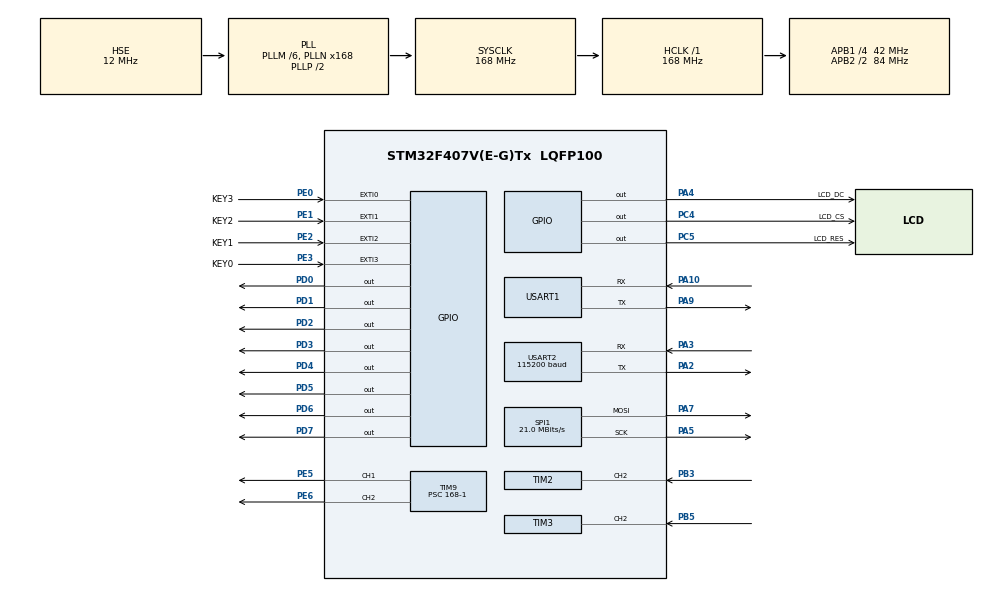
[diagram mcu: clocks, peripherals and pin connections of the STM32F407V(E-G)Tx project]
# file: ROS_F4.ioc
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Dma.Request0=USART1_RX
Dma.Request1=USART2_RX
Dma.USART1_RX.0.Direction=DMA_PERIPH_TO_MEMORY
Dma.USART1_RX.0.FIFOMode=DMA_FIFOMODE_DISABLE
Dma.USART1_RX.0.Instance=DMA2_Stream2
Dma.USART1_RX.0.MemDataAlignment=DMA_MDATAALIGN_BYTE
Dma.USART1_RX.0.MemInc=DMA_MINC_ENABLE
Dma.USART1_RX.0.Mode=DMA_NORMAL
Dma.USART1_RX.0.PeriphDataAlignment=DMA_PDATAALIGN_BYTE
Dma.USART1_RX.0.PeriphInc=DMA_PINC_DISABLE
Dma.USART1_RX.0.Priority=DMA_PRIORITY_LOW
Dma.USART2_RX.1.Direction=DMA_PERIPH_TO_MEMORY
Dma.USART2_RX.1.FIFOMode=DMA_FIFOMODE_DISABLE
Dma.USART2_RX.1.Instance=DMA1_Stream5
Dma.USART2_RX.1.MemDataAlignment=DMA_MDATAALIGN_BYTE
Dma.USART2_RX.1.MemInc=DMA_MINC_ENABLE
Dma.USART2_RX.1.Mode=DMA_NORMAL
Dma.USART2_RX.1.PeriphDataAlignment=DMA_PDATAALIGN_BYTE
Dma.USART2_RX.1.PeriphInc=DMA_PINC_DISABLE
Dma.USART2_RX.1.Priority=DMA_PRIORITY_LOW
Mcu.Family=STM32F4
Mcu.Name=STM32F407V(E-G)Tx
Mcu.Package=LQFP100
NVIC.DMA1_Stream5_IRQn=true\:0\:0\:false\:false\:true\:false\:true\:true
NVIC.DMA2_Stream2_IRQn=true\:0\:0\:false\:false\:true\:false\:true\:true
NVIC.EXTI0_IRQn=true\:1\:0\:true\:false\:true\:true\:true\:true
NVIC.EXTI1_IRQn=true\:1\:0\:true\:false\:true\:true\:true\:true
NVIC.EXTI2_IRQn=true\:1\:0\:true\:false\:true\:true\:true\:true
NVIC.EXTI3_IRQn=true\:1\:0\:true\:false\:true\:true\:true\:true
NVIC.PriorityGroup=NVIC_PRIORITYGROUP_4
NVIC.TIM2_IRQn=true\:0\:0\:false\:false\:true\:true\:true\:true
NVIC.TIM3_IRQn=true\:0\:0\:false\:false\:true\:true\:true\:true
NVIC.TIM5_IRQn=true\:0\:0\:false\:false\:true\:true\:true\:true
NVIC.TIM6_DAC_IRQn=true\:0\:0\:false\:false\:true\:true\:true\:true
NVIC.USART1_IRQn=true\:2\:0\:true\:false\:true\:true\:true\:true
NVIC.USART2_IRQn=true\:2\:0\:true\:false\:true\:true\:true\:true
PA10.Mode=Asynchronous
PA10.Signal=USART1_RX
PA13.Mode=Serial_Wire
PA13.Signal=SYS_JTMS-SWDIO
PA14.Mode=Serial_Wire
PA14.Signal=SYS_JTCK-SWCLK
PA2.Mode=Asynchronous
PA2.Signal=USART2_TX
PA3.Mode=Asynchronous
PA3.Signal=USART2_RX
PA4.GPIO_Label=LCD_DC
PA4.GPIO_PuPd=GPIO_PULLDOWN
PA4.Signal=GPIO_Output
PA5.GPIO_Mode=GPIO_MODE_AF_PP
PA5.Mode=TX_Only_Simplex_Unidirect_Master
PA5.Signal=SPI1_SCK
PA7.GPIO_Mode=GPIO_MODE_AF_PP
PA7.Mode=TX_Only_Simplex_Unidirect_Master
PA7.Signal=SPI1_MOSI
PA9.Mode=Asynchronous
PA9.Signal=USART1_TX
PB3.GPIO_ModeDefaultPP=GPIO_MODE_AF_PP
PB3.Signal=S_TIM2_CH2
PB5.Signal=S_TIM3_CH2
PC4.GPIO_Label=LCD_CS
PC4.GPIO_PuPd=GPIO_PULLDOWN
PC4.Signal=GPIO_Output
PC5.GPIO_Label=LCD_RES
PC5.GPIO_PuPd=GPIO_PULLDOWN
PC5.Signal=GPIO_Output
PD0.Signal=GPIO_Output
PD1.Signal=GPIO_Output
PD2.Signal=GPIO_Output
PD3.Signal=GPIO_Output
PD4.Signal=GPIO_Output
PD5.Signal=GPIO_Output
PD6.Signal=GPIO_Output
PD7.Signal=GPIO_Output
PE0.GPIO_Label=KEY3
PE0.GPIO_ModeDefaultEXTI=GPIO_MODE_IT_FALLING
PE0.Signal=GPXTI0
PE1.GPIO_Label=KEY2
PE1.GPIO_ModeDefaultEXTI=GPIO_MODE_IT_FALLING
PE1.Signal=GPXTI1
PE2.GPIO_Label=KEY1
PE2.GPIO_ModeDefaultEXTI=GPIO_MODE_IT_FALLING
PE2.Signal=GPXTI2
PE3.GPIO_Label=KEY0
PE3.GPIO_ModeDefaultEXTI=GPIO_MODE_IT_FALLING
PE3.Signal=GPXTI3
PE5.Signal=S_TIM9_CH1
PE6.Signal=S_TIM9_CH2
PH0-OSC_IN.Mode=HSE-External-Oscillator
PH0-OSC_IN.Signal=RCC_OSC_IN
PH1-OSC_OUT.Mode=HSE-External-Oscillator
PH1-OSC_OUT.Signal=RCC_OSC_OUT
ProjectManager.HeapSize=0x200
ProjectManager.StackSize=0x400
ProjectManager.TargetToolchain=STM32CubeIDE
RCC.48MHZClocksFreq_Value=84000000
RCC.AHBFreq_Value=168000000
RCC.APB1CLKDivider=RCC_HCLK_DIV4
RCC.APB1Freq_Value=42000000
RCC.APB1TimFreq_Value=84000000
RCC.APB2CLKDivider=RCC_HCLK_DIV2
RCC.APB2Freq_Value=84000000
RCC.APB2TimFreq_Value=168000000
RCC.CortexFreq_Value=168000000
RCC.HCLKFreq_Value=168000000
RCC.HSE_VALUE=12000000
RCC.HSI_VALUE=16000000
RCC.LSE_VALUE=32768
RCC.PLLM=6
RCC.PLLN=168
RCC.PLLSourceVirtual=RCC_PLLSOURCE_HSE
RCC.SYSCLKFreq_VALUE=168000000
RCC.SYSCLKSource=RCC_SYSCLKSOURCE_PLLCLK
RCC.VCOOutputFreq_Value=336000000
SH.S_TIM2_CH2.0=TIM2_CH2,TriggerSource_TI2FP2
SH.S_TIM3_CH2.0=TIM3_CH2,TriggerSource_TI2FP2
SH.S_TIM9_CH1.0=TIM9_CH1,PWM Generation1 CH1
SH.S_TIM9_CH2.0=TIM9_CH2,PWM Generation2 CH2
SPI1.BaudRatePrescaler=SPI_BAUDRATEPRESCALER_4
SPI1.CalculateBaudRate=21.0 MBits/s
SPI1.Direction=SPI_DIRECTION_2LINES
SPI1.Mode=SPI_MODE_MASTER
SPI1.VirtualType=VM_MASTER
TIM5.Period=100-1
TIM5.Prescaler=16800-1
TIM6.Period=2000-1
TIM6.Prescaler=16800-1
TIM9.Channel-PWM\ Generation1\ CH1=TIM_CHANNEL_1
TIM9.Channel-PWM\ Generation2\ CH2=TIM_CHANNEL_2
TIM9.Period=1000-1
TIM9.Prescaler=168-1
USART1.VirtualMode=VM_ASYNC
USART2.BaudRate=115200
USART2.VirtualMode=VM_ASYNC
VP_TIM2_VS_ControllerModeClock.Mode=Clock Mode
VP_TIM3_VS_ControllerModeClock.Mode=Clock Mode
VP_TIM5_VS_ClockSourceINT.Mode=Internal
VP_TIM6_VS_ClockSourceINT.Mode=Enable_Timer
board=custom

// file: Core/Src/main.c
/* USER CODE BEGIN Header */
/**
  ******************************************************************************
  * @file           : main.c
  * @brief          : Main program body
  ******************************************************************************
  * @attention
  *
  * Copyright (c) 2025 STMicroelectronics.
  * All rights reserved.
  *
  * This software is licensed under terms that can be found in the LICENSE file
  * in the root directory of this software component.
  * If no LICENSE file comes with this software, it is provided AS-IS.
  *
  ******************************************************************************
  */
/* USER CODE END Header */
#include "main.h"
#include "dma.h"
#include "spi.h"
#include "tim.h"
#include "usart.h"
#include "gpio.h"

/* USER CODE BEGIN Includes */
#include "st7735.h"
#include "jy901.h"
#include "motor.h"
#include <string.h>
#include "delay.h"
#include "slip.h"
/* USER CODE END Includes */

/* USER CODE BEGIN PTD */
uint8_t IMU_data[44]={0};
uint8_t uart_data[40]={0};
uint8_t to_lcd_Buffer[40];

int left_pwm = 0;
int right_pwm = 0;

uint8_t IMU_FPS=0;
uint8_t cnt=0;
uint8_t cntt=0;
uint8_t IMU_FPS_sum=0;

uint32_t left_count = 0;
uint32_t right_count = 0;

float left_speed = 0 , right_speed = 0;

int n0=0,n1=0,n2=0,n3=0;
float v1 = 0;

extern User_USART JY901_data;
int flag = 1;

PID_IncTypeDef MotorPID;  // 声明PID控制器结构体变量
extern float x_speed;
/* USER CODE END PTD */

void SystemClock_Config(void);

/* USER CODE BEGIN 0 */
int fputc(int ch, FILE *f)
{
  HAL_UART_Transmit(&huart1, (uint8_t *)&ch, 1, 10);
  return ch;
}
/* USER CODE END 0 */

int main(void)
{

  /* MCU Configuration--------------------------------------------------------*/

  /* Reset of all peripherals, Initializes the Flash interface and the Systick. */
  HAL_Init();

  /* Configure the system clock */
  SystemClock_Config();

  /* Initialize all configured peripherals */
  MX_GPIO_Init();
  MX_DMA_Init();
  MX_USART1_UART_Init();
  MX_USART2_UART_Init();
  MX_SPI1_Init();
  MX_TIM2_Init();
  MX_TIM5_Init();
  MX_TIM3_Init();
  MX_TIM9_Init();
  MX_TIM6_Init();
  /* USER CODE BEGIN 2 */
	User_USART_Init(&JY901_data);

	HAL_UARTEx_ReceiveToIdle_DMA(&huart1,uart_data,40);
	HAL_UARTEx_ReceiveToIdle_DMA(&huart2,IMU_data,44);

	ST7735_Init();

	ST7735_DrawString(0,0,"F4 & ROS",ST7735_WHITE,ST7735_BLACK,&Font_11x18);
	ST7735_DrawString(0,58,"N0:",ST7735_WHITE,ST7735_BLACK,&Font_7x10);
	ST7735_DrawString(80,58,"N1:",ST7735_WHITE,ST7735_BLACK,&Font_7x10);
	ST7735_DrawString(0,68,"N2:",ST7735_WHITE,ST7735_BLACK,&Font_7x10);
	ST7735_DrawString(80,68,"N3:",ST7735_WHITE,ST7735_BLACK,&Font_7x10);

	ST7735_DrawString(0,18,"X :",ST7735_WHITE,ST7735_BLACK,&Font_7x10);
	ST7735_DrawString(0,28,"Y :",ST7735_WHITE,ST7735_BLACK,&Font_7x10);
	ST7735_DrawString(0,38,"Z :",ST7735_WHITE,ST7735_BLACK,&Font_7x10);
	ST7735_DrawString(0,48,"IMU_FPS :",ST7735_WHITE,ST7735_BLACK,&Font_7x10);

	PID_IncInit(&MotorPID, 0.2f, 0.07f, 0, 2000.0f, -2000.0f);//kp ki kd max min

  /* USER CODE END 2 */

  /* Infinite loop */
  while (1)
  {

    /* USER CODE BEGIN 3 */
	  set_pwm(1,left_pwm);
	  set_pwm(2,right_pwm);

//	  set_pwm(1,200);
//	  set_pwm(2,200);
//	  send_raspi();
  }
  /* USER CODE END 3 */
}

void SystemClock_Config(void)
{
  RCC_OscInitTypeDef RCC_OscInitStruct = {0};
  RCC_ClkInitTypeDef RCC_ClkInitStruct = {0};

  /** Configure the main internal regulator output voltage
  */
  __HAL_RCC_PWR_CLK_ENABLE();
  __HAL_PWR_VOLTAGESCALING_CONFIG(PWR_REGULATOR_VOLTAGE_SCALE1);

  /** Initializes the RCC Oscillators according to the specified parameters
  * in the RCC_OscInitTypeDef structure.
  */
  RCC_OscInitStruct.OscillatorType = RCC_OSCILLATORTYPE_HSE;
  RCC_OscInitStruct.HSEState = RCC_HSE_ON;
  RCC_OscInitStruct.PLL.PLLState = RCC_PLL_ON;
  RCC_OscInitStruct.PLL.PLLSource = RCC_PLLSOURCE_HSE;
  RCC_OscInitStruct.PLL.PLLM = 6;
  RCC_OscInitStruct.PLL.PLLN = 168;
  RCC_OscInitStruct.PLL.PLLP = RCC_PLLP_DIV2;
  RCC_OscInitStruct.PLL.PLLQ = 4;
  if (HAL_RCC_OscConfig(&RCC_OscInitStruct) != HAL_OK)
  {
    Error_Handler();
  }

  /** Initializes the CPU, AHB and APB buses clocks
  */
  RCC_ClkInitStruct.ClockType = RCC_CLOCKTYPE_HCLK|RCC_CLOCKTYPE_SYSCLK
                              |RCC_CLOCKTYPE_PCLK1|RCC_CLOCKTYPE_PCLK2;
  RCC_ClkInitStruct.SYSCLKSource = RCC_SYSCLKSOURCE_PLLCLK;
  RCC_ClkInitStruct.AHBCLKDivider = RCC_SYSCLK_DIV1;
  RCC_ClkInitStruct.APB1CLKDivider = RCC_HCLK_DIV4;
  RCC_ClkInitStruct.APB2CLKDivider = RCC_HCLK_DIV2;

  if (HAL_RCC_ClockConfig(&RCC_ClkInitStruct, FLASH_LATENCY_5) != HAL_OK)
  {
    Error_Handler();
  }
}

/* USER CODE BEGIN 4 */
void HAL_UARTEx_RxEventCallback(UART_HandleTypeDef *huart, uint16_t Size)
{
    uint8_t RXD_Buffer[33];
    if(huart == &huart1)
    {
        memcpy(RXD_Buffer, uart_data, Size);
        RXD_Buffer[Size] = '\0'; // 补0结束符

        char rxd_buf_char[50] = {0}; // 新建一个char数组，防止类型冲突
        memcpy(rxd_buf_char, RXD_Buffer, Size); // 拷贝到char数组中
        rxd_buf_char[Size] = '\0'; // 再补一个结束符

        if (rxd_buf_char[0] == '[')
        {
            char *comma_ptr = strchr(rxd_buf_char, ',');
            char *right_bracket_ptr = strchr(rxd_buf_char, ']');

            if (comma_ptr != NULL && right_bracket_ptr != NULL && comma_ptr < right_bracket_ptr)
            {
                char left_str[10] = {0};
                char right_str[10] = {0};

                memcpy(left_str, rxd_buf_char + 1, comma_ptr - (rxd_buf_char + 1));
                left_str[comma_ptr - (rxd_buf_char + 1)] = '\0';

                memcpy(right_str, comma_ptr + 1, right_bracket_ptr - (comma_ptr + 1));
                right_str[right_bracket_ptr - (comma_ptr + 1)] = '\0';

                left_pwm = atoi(left_str);
                right_pwm = atoi(right_str);
            }
        }

        HAL_UARTEx_ReceiveToIdle_DMA(&huart1, uart_data, 40); // 继续接收
    }
    if(huart == &huart2)
    {
        IMU_FPS_sum++;
//        HAL_UART_Transmit(&huart1, "IMU_data get!!!!!!!\r\n", 22,0xff);
        memcpy(JY901_data.RxBuffer,IMU_data, JY901_data.Rx_len);
        JY901_data.Rx_len = sizeof(IMU_data);
        JY901_Process();
        HAL_UARTEx_ReceiveToIdle_DMA(&huart2,IMU_data,44);
    }
}
void HAL_TIM_PeriodElapsedCallback(TIM_HandleTypeDef *htim)
{
    if (htim == (&htim6))	//5hz,0.2s一次
    {
//    	n1++;
    	left_count = (uint32_t)Read_Encoder_Count(&htim2);
    	right_count = (uint32_t)Read_Encoder_Count(&htim3);

    	left_speed = Calculate_Encoder_Speed(left_count);
    	right_speed = Calculate_Encoder_Speed(right_count);
//		for(int i = 0 ; i < 4 ;i++)
//		{
//			angular_vel[i] = (EncodeTotal[i] / 0.2) * (2 * PI / (52 * 20));
//			linear_vel[i] = angular_vel[i] * (WHEEL_DIAMETER / 2);
//		}
//    	send_raspi();
    }

    if (htim == (&htim5))	//100Mhz,10ms一次
    {
    	//send_raspi();
		IMU_FPS=IMU_FPS_sum;
		IMU_FPS_sum=0;
		update_velocity();
		cnt++;
		if(cnt == 10)
		{
			cnt = 0;
			x_speed = 0;
		}

		if(n0 % 4 == 0)
		{
			ST7735_DrawInt(20,58,left_pwm,ST7735_WHITE,ST7735_BLACK,&Font_7x10);
			ST7735_DrawInt(100,58,right_pwm,ST7735_WHITE,ST7735_BLACK,&Font_7x10);
			ST7735_DrawInt(20,68,left_count,ST7735_WHITE,ST7735_BLACK,&Font_7x10);
			ST7735_DrawInt(100,68,right_count,ST7735_WHITE,ST7735_BLACK,&Font_7x10);

			ST7735_DrawFloat(30,18, JY901_data.angle.angle[0],ST7735_WHITE,ST7735_BLACK,&Font_7x10,1);
			ST7735_DrawFloat(30,28, JY901_data.angle.angle[1],ST7735_WHITE,ST7735_BLACK,&Font_7x10,1);
			ST7735_DrawFloat(30,38, JY901_data.angle.angle[2],ST7735_WHITE,ST7735_BLACK,&Font_7x10,1);
			ST7735_DrawFloat(70,48,IMU_FPS,ST7735_WHITE,ST7735_BLACK,&Font_7x10,1);
		}
		else if(n0 %4 == 1)
		{
//			ST7735_DrawInt(20,58,linear_vel[0],ST7735_WHITE,ST7735_BLACK,&Font_7x10);
			ST7735_DrawFloat(20,58, n0,ST7735_WHITE,ST7735_BLACK,&Font_7x10,2);
			ST7735_DrawInt(100,58,n1,ST7735_WHITE,ST7735_BLACK,&Font_7x10);
			ST7735_DrawInt(20,68,n2,ST7735_WHITE,ST7735_BLACK,&Font_7x10);
			ST7735_DrawInt(100,68,n3,ST7735_WHITE,ST7735_BLACK,&Font_7x10);

			ST7735_DrawFloat(30,18, JY901_data.acc.a[0],ST7735_WHITE,ST7735_BLACK,&Font_7x10,1);
			ST7735_DrawFloat(30,28, JY901_data.acc.a[1],ST7735_WHITE,ST7735_BLACK,&Font_7x10,1);
			ST7735_DrawFloat(30,38, JY901_data.acc.a[2],ST7735_WHITE,ST7735_BLACK,&Font_7x10,1);
			ST7735_DrawFloat(70,48,IMU_FPS,ST7735_WHITE,ST7735_BLACK,&Font_7x10,1);
		}
		else if(n0 %4 == 2)
		{
			ST7735_DrawInt(20,58,v1,ST7735_WHITE,ST7735_BLACK,&Font_7x10);

			ST7735_DrawFloat(30,18, JY901_data.w.w[0],ST7735_WHITE,ST7735_BLACK,&Font_7x10,1);
			ST7735_DrawFloat(30,28, JY901_data.w.w[1],ST7735_WHITE,ST7735_BLACK,&Font_7x10,1);
			ST7735_DrawFloat(30,38, JY901_data.w.w[2],ST7735_WHITE,ST7735_BLACK,&Font_7x10,1);
			ST7735_DrawFloat(70,48,IMU_FPS,ST7735_WHITE,ST7735_BLACK,&Font_7x10,1);
		}
		else if(n0 %4 == 3)
		{
			ST7735_DrawInt(20,58,n0,ST7735_WHITE,ST7735_BLACK,&Font_7x10);
			ST7735_DrawInt(100,58,n1,ST7735_WHITE,ST7735_BLACK,&Font_7x10);
			ST7735_DrawInt(20,68,n2,ST7735_WHITE,ST7735_BLACK,&Font_7x10);
			ST7735_DrawInt(120,68,n3,ST7735_WHITE,ST7735_BLACK,&Font_7x10);

			ST7735_DrawFloat(30,18, JY901_data.q.q[0],ST7735_WHITE,ST7735_BLACK,&Font_7x10,1);
			ST7735_DrawFloat(30,28, JY901_data.q.q[1],ST7735_WHITE,ST7735_BLACK,&Font_7x10,1);
			ST7735_DrawFloat(30,38, JY901_data.q.q[2],ST7735_WHITE,ST7735_BLACK,&Font_7x10,1);
			ST7735_DrawFloat(70,48,JY901_data.q.q[3],ST7735_WHITE,ST7735_BLACK,&Font_7x10,1);
		}
    }
}
void HAL_GPIO_EXTI_Callback(uint16_t GPIO_Pin)
{
    if(GPIO_Pin==KEY0_Pin)
    {
        n0++;
    }
    if(GPIO_Pin==KEY1_Pin)
    {
        n1++;
    }
    if(GPIO_Pin==KEY2_Pin)
    {
        n2++;
    }
    if(GPIO_Pin==KEY3_Pin)
    {
        n3++;
    }
}

/* USER CODE END 4 */

void Error_Handler(void)
{
  __disable_irq();
  while (1)
  {
  }
}
